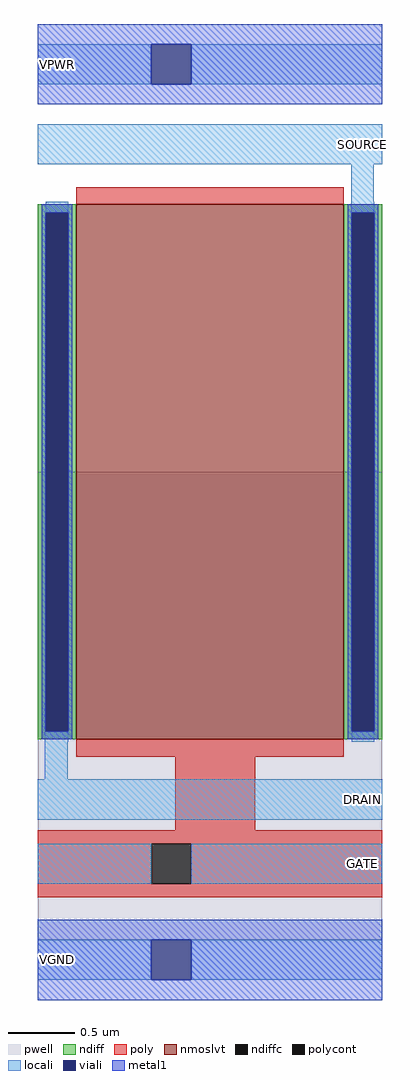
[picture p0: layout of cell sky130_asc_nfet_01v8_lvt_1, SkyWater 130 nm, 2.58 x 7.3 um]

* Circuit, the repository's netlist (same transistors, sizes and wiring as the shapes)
* NGSPICE file created from sky130_asc_nfet_01v8_lvt_1.ext - technology: sky130A

.subckt sky130_asc_nfet_01v8_lvt_1 GATE SOURCE DRAIN VPWR VGND
X0 SOURCE GATE DRAIN VSUBS sky130_fd_pr__nfet_01v8_lvt ad=1.16e+12p pd=8.58e+06u as=1.16e+12p ps=8.58e+06u w=4e+06u l=2e+06u
.ends

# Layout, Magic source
magic
tech sky130A
magscale 1 2
<< pwell >>
rect 120 30 636 730
<< nmoslvt >>
rect 178 330 578 1130
<< ndiff >>
rect 120 1118 178 1130
rect 120 342 132 1118
rect 166 342 178 1118
rect 120 330 178 342
rect 578 1118 636 1130
rect 578 342 590 1118
rect 624 342 636 1118
rect 578 330 636 342
<< ndiffc >>
rect 132 342 166 1118
rect 590 342 624 1118
<< poly >>
rect 178 1130 578 1156
rect 178 304 578 330
rect 326 194 446 304
rect 120 174 636 194
rect 120 114 290 174
rect 350 114 636 174
rect 120 94 636 114
<< polycont >>
rect 290 114 350 174
<< locali >>
rect 120 1310 290 1370
rect 350 1310 636 1370
rect 120 1190 636 1250
rect 589 1134 623 1190
rect 132 1118 166 1134
rect 131 342 132 384
rect 589 1118 624 1134
rect 589 1076 590 1118
rect 131 326 166 342
rect 590 326 624 342
rect 131 270 165 326
rect 120 210 636 270
rect 120 114 290 174
rect 350 114 636 174
rect 120 -30 290 30
rect 350 -30 636 30
<< viali >>
rect 290 1310 350 1370
rect 132 342 166 1118
rect 590 342 624 1118
rect 290 -30 350 30
<< metal1 >>
rect 120 1370 636 1400
rect 120 1310 290 1370
rect 350 1310 636 1370
rect 120 1280 636 1310
rect 126 1118 172 1130
rect 126 342 132 1118
rect 166 342 172 1118
rect 126 330 172 342
rect 584 1118 630 1130
rect 584 342 590 1118
rect 624 342 630 1118
rect 584 330 630 342
rect 120 30 636 60
rect 120 -30 290 30
rect 350 -30 636 30
rect 120 -60 636 -30
<< labels >>
flabel metal1 120 1310 180 1370 1 FreeSans 480 0 0 0 VPWR
port 4 n power bidirectional
flabel metal1 120 -30 180 30 1 FreeSans 480 0 0 0 VGND
port 5 n ground bidirectional
flabel locali 576 1190 636 1250 1 FreeSans 480 0 0 0 SOURCE
port 2 n default bidirectional
flabel locali 576 210 636 270 1 FreeSans 480 0 0 0 DRAIN
port 3 n default bidirectional
flabel locali 576 114 636 174 1 FreeSans 480 0 0 0 GATE
port 1 n default bidirectional
<< properties >>
string FIXED_BBOX 0 0 854 1880
string LEFclass CORE
string LEFsite unitasc
<< end >>
